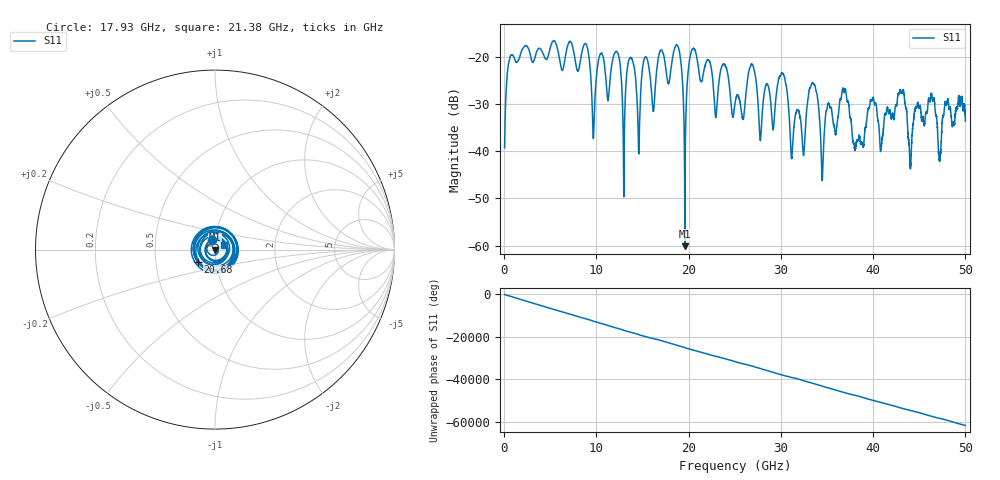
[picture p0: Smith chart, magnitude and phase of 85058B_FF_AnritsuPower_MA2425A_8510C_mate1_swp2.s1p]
!Created with skrf (http://scikit-rf.org).
# Hz S RI R 50.0
!freq ReS11 ImS11
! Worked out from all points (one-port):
!   10001 points, 45 MHz to 50 GHz, reference 50 ohm
!   lowest |S11| = -60.1 dB at 19.58 GHz (marker M1), VSWR 1.00, Z = 49.9 + j0.00277 ohm
!   |S11| at or under -10 dB: start of sweep to end of sweep
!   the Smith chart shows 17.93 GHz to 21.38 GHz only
!   S11 on the Smith chart (normalised r, x): 17.93 GHz: 0.96, +0.11; 20.68 GHz: 0.82, -0.12; 21.38 GHz: 1.10, +0.06
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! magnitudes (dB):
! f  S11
! 45 MHz  -39.3
! 774.3 MHz  -19.6
! 6.289 GHz  -23.0
! 8.862 GHz  -17.3
! 9.686 GHz  -37.0
! 10.42 GHz  -19.4
! 12.53 GHz  -21.2
! 12.97 GHz  -49.0
! 13.66 GHz  -20.2
! 14.57 GHz  -39.8
! 15.28 GHz  -20.1
! 17.93 GHz  -24.9
! 18.78 GHz  -17.6
! 19.58 GHz  -60.1
! 20.68 GHz  -18.6
! 21.38 GHz  -25.2
! 25.02 GHz  -29.9
! 26.85 GHz  -21.7
! 27.74 GHz  -37.5
! 29.17 GHz  -35.4
! 30.17 GHz  -23.5
! 31.27 GHz  -38.8
! 33.44 GHz  -25.6
! 34.48 GHz  -45.8
! 35.11 GHz  -30.0
! 37.51 GHz  -33.0
! 43.76 GHz  -35.6
! 50 GHz  -33.6
